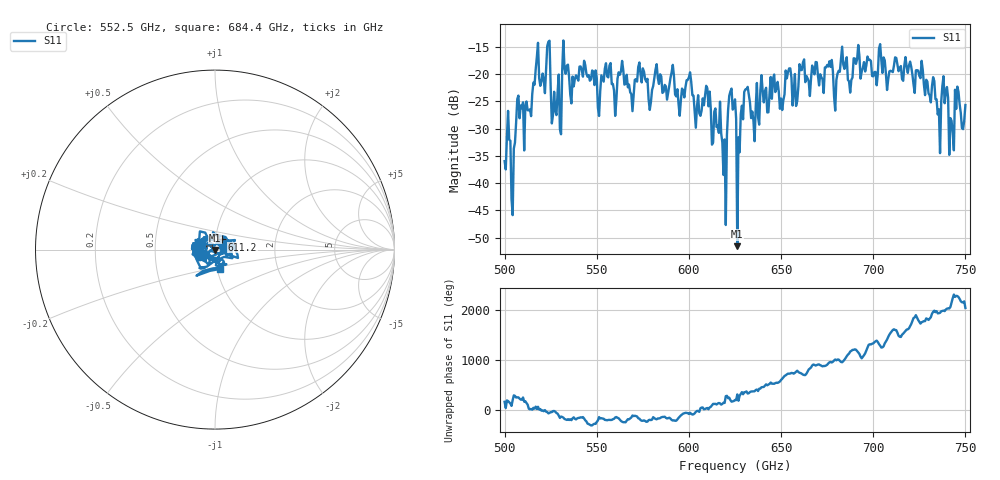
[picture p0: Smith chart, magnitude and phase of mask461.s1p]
!Created with skrf (http://scikit-rf.org).
# GHz S MA R 50.0
!freq magS11 angS11
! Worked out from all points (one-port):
!   401 points, 500 GHz to 750 GHz, reference 50 ohm
!   lowest |S11| = -51.6 dB at 626.2 GHz (marker M1), VSWR 1.01, Z = 50.2 - j0.192 ohm
!   |S11| at or under -10 dB: start of sweep to end of sweep
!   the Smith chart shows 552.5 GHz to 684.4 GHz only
!   S11 on the Smith chart (normalised r, x): 552.5 GHz: 0.83, -0.06; 611.2 GHz: 1.08, +0.12; 684.4 GHz: 1.03, -0.23
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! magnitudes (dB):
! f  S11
! 500 GHz  -36.0
! 504.4 GHz  -45.9
! 507.5 GHz  -24.0
! 513.8 GHz  -26.5
! 516.9 GHz  -19.1
! 523.8 GHz  -14.1
! 526.9 GHz  -23.3
! 531.2 GHz  -19.3
! 533.1 GHz  -20.0
! 552.5 GHz  -20.3
! 562.5 GHz  -20.1
! 593.8 GHz  -22.8
! 611.2 GHz  -23.2
! 618.8 GHz  -38.5
! 622.5 GHz  -23.2
! 625 GHz  -24.6
! 626.2 GHz  -51.6
! 631.2 GHz  -22.8
! 635 GHz  -28.6
! 656.2 GHz  -25.8
! 684.4 GHz  -19.1
! 687.5 GHz  -23.4
! 718.8 GHz  -19.8
! 735 GHz  -27.4
! 738.8 GHz  -25.4
! 742.5 GHz  -28.6
! 745.6 GHz  -22.3
! 750 GHz  -25.7
